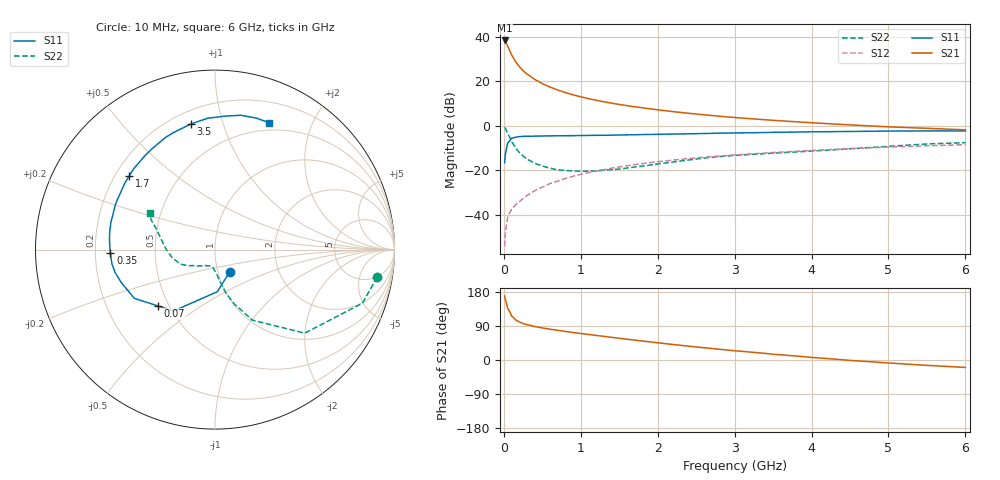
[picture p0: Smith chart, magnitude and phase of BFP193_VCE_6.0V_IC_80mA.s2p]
! (c) 2017  Infineon Technologies AG, Munich
! Infineon Technologies  Discrete & RF Semiconductors
! BFP193
! VCE =  6.0 V,  IC =  80 mA
! Common Emitter S-Parameters:  Jan 2017
# GHz  S  MA  R  50
!  f  S11  S21  S12  S22
! GHz  MAG  ANG  MAG  ANG  MAG  ANG  MAG  ANG
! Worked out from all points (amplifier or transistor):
!   77 points, 10 MHz to 6 GHz, reference 50 ohm
!   highest |S21| = 38.3 dB at 10 MHz (marker M1)
!   |S21| within 3 dB of that: start of sweep to 55.66 MHz
!   unconditionally stable (mu >= 1): 419.1 MHz to 2.37 GHz
!   at 130 MHz: K = 0.71, MSG = 33.2 dB, |S12| = -36.3 dB
!   at 2.2 GHz: K = 1.01, MAG = 10.2 dB, |S12| = -15.4 dB
!   at 6 GHz: K = 0.92, MSG = 3.3 dB, |S12| = -8.5 dB
!   S11 on the Smith chart (normalised r, x): 10 MHz: 1.14, -0.29; 70 MHz: 0.44, -0.34; 350 MHz: 0.26, -0.02; 1.7 GHz: 0.26, +0.35; 3.5 GHz: 0.28, +0.79; 6 GHz: 0.42, +1.43
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0.01  0.1492 -57.2  81.82 169.0  0.002 77.9  0.9169 -9.6
0.02  0.2345 -86.7  79.14 159.0  0.0038 82.1  0.8737 -20.0
0.05  0.4117 -123.9  60.64 135.7  0.0089 64.1  0.6828 -43.0
0.07  0.4463 -135.3  51.35 129.8  0.0107 63.0  0.581 -48.7
0.1  0.5249 -148.8  39.02 116.0  0.0133 61.9  0.4452 -62.0
0.15  0.5535 -160.7  27.71 106.3  0.0167 61.5  0.3214 -70.5
0.2  0.5705 -166.9  21.32 100.5  0.0198 66.3  0.2529 -75.6
0.25  0.5796 -171.9  17.25 96.2  0.0234 66.2  0.21 -78.6
0.3  0.5815 -175.4  14.47 93.3  0.0271 68.0  0.1794 -81.3
0.35  0.583 -178.1  12.71 91.2  0.0309 69.1  0.1618 -82.9
0.4  0.5857 179.2  10.98 88.4  0.0348 70.0  0.1443 -84.9
0.5  0.5901 174.9  8.803 84.6  0.042 71.5  0.1247 -88.8
0.6  0.5944 171.0  7.378 81.3  0.0506 70.6  0.112 -92.4
0.8  0.6002 164.7  5.555 75.3  0.0657 70.9  0.0994 -98.5
1.1  0.6086 155.8  4.068 67.5  0.0893 68.3  0.0964 -109.0
1.7  0.6293 139.4  2.669 52.5  0.1347 61.3  0.1193 -130.5
2.1  0.6473 129.1  2.176 43.2  0.1631 56.1  0.1468 -142.2
3.1  0.6943 108.0  1.489 22.8  0.2277 43.2  0.2217 -162.4
3.5  0.7125 100.9  1.325 15.2  0.2515 38.7  0.2434 -169.7
4.1  0.7346 91.6  1.144 5.4  0.2851 31.3  0.2774 177.5
5.1  0.7626 77.8  0.932 -9.1  0.337 19.6  0.3546 159.5
6  0.7684 66.8  0.811 -19.7  0.3778 9.5  0.4181 150.7
